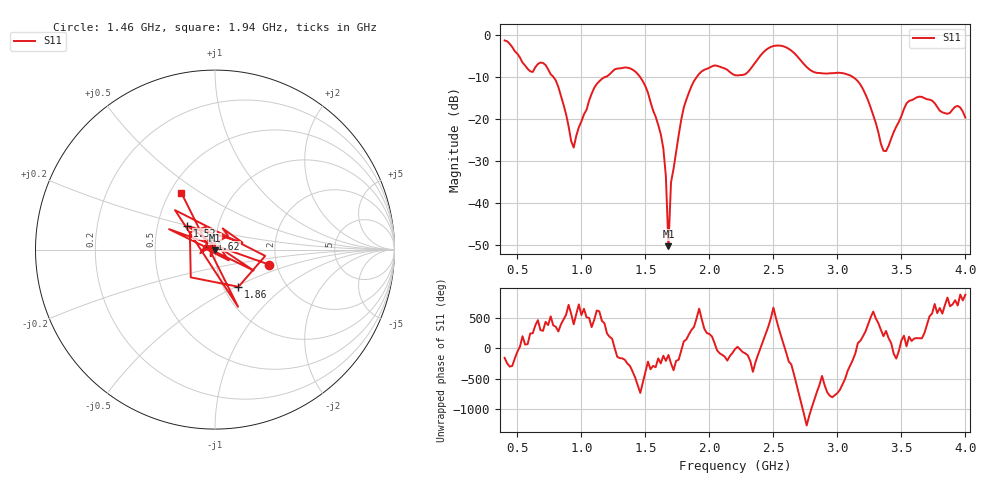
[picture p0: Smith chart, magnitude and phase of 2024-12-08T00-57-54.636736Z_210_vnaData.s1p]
!Created with skrf (http://scikit-rf.org).
# Hz S RI R 50.0
!freq ReS11 ImS11
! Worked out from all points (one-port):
!   181 points, 400 MHz to 4 GHz, reference 50 ohm
!   lowest |S11| = -50.4 dB at 1.68 GHz (marker M1), VSWR 1.01, Z = 49.9 - j0.283 ohm
!   |S11| at or under -10 dB: 780.7 MHz to 1.189 GHz (408.7 MHz wide, 41.5 % of centre); 1.457 GHz to 1.902 GHz (444.9 MHz wide, 26.5 % of centre); 3.119 GHz to end of sweep
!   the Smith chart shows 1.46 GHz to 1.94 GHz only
!   S11 on the Smith chart (normalised r, x): 1.46 GHz: 1.82, -0.34; 1.52 GHz: 0.71, +0.20; 1.62 GHz: 0.95, +0.12; 1.86 GHz: 1.18, -0.52; 1.94 GHz: 0.57, +0.42
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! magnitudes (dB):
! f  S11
! 400 MHz  -1.3
! 600 MHz  -8.7
! 720 MHz  -7.2
! 860 MHz  -16.6
! 940 MHz  -26.9
! 1.1 GHz  -12.6
! 1.3 GHz  -8.0
! 1.46 GHz  -10.1
! 1.52 GHz  -13.8
! 1.62 GHz  -23.7
! 1.66 GHz  -33.7
! 1.68 GHz  -50.4
! 1.7 GHz  -35.2
! 1.76 GHz  -23.9
! 1.86 GHz  -12.2
! 1.94 GHz  -8.7
! 2.2 GHz  -9.6
! 2.48 GHz  -2.9
! 2.66 GHz  -4.3
! 2.82 GHz  -8.9
! 3.1 GHz  -9.7
! 3.22 GHz  -14.2
! 3.36 GHz  -27.6
! 3.56 GHz  -15.7
! 3.66 GHz  -14.8
! 3.86 GHz  -18.8
! 3.94 GHz  -16.9
! 4 GHz  -19.7
